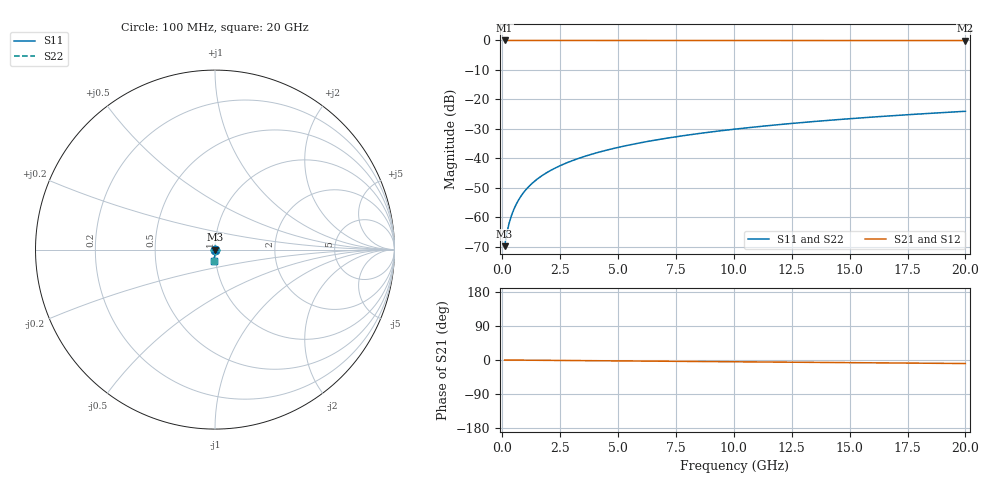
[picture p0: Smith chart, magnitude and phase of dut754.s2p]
! Touchstone file exported from HFSS 2026.1.0
!  File:  C:/ffzhzh/LocalFiles/Ansys_Project_Files/temp_train_TSV_754_1783183094_18472.aedt
!  Generated:  12:39:38 AM Jul  5, 2026
!  Design:  TSV
!  Project:  temp_train_TSV_754_1783183094_18472
! Variables:
!  h_bsmrdl = 2um
!  h_ox = 20um
!  h_rdl = 5um
!  h_sub = 93.27um
!  h_tmrdl = 5um
!  h_tsv = 93.27um
!  h_via = 3um
!  l_bsmrdl = 300um
!  l_sub = 416.66um
!  l_tmrdl = 200um
!  m_sub = 200um
!  pitch = 23.84um
!  r_tsv = 8.33um
!  s_tmrdl = 10um
!  w_bsmrdl = 18um
!  w_sub = 500um
!  w_tmrdl = 12um
!  x_tsv_center1 = 206um
!  x_tsv_center2 = 524um
!  x_tsv_center3 = 736um
!  x_tsv_center4 = 1054um
!  x_tsv_center5 = 1266um
!  x_tsv_center6 = 1584um
# GHz S MA R 50.000000
! Terminal data exported
! Port[1] = TSV1_1_T1
! Port[2] = TSV1_1_T2
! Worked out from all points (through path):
!   200 points, 100 MHz to 20 GHz, reference 50 ohm
!   highest |S21| = 0.00 dB at 100 MHz (marker M1); lowest = 0.0 dB at 20 GHz (marker M2)
!   group delay of S21, straight-line fit = 1.29 ps
!   lowest |S11| = -69.9 dB at 100 MHz (marker M3), VSWR 1.00, Z = 50 - j0.0246 ohm
!   |S11| at or under -10 dB: start of sweep to end of sweep
!   |S22| runs from -69.9 to -24.1 dB; largest |S21 - S12| = 4.9e-15
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0.1  0.0003217 -49.8  0.9998 -0.1  0.9998 -0.1  0.0003217 -49.8
! Gamma 0 0 0 0
! Port Impedance 50 0 50 0
0.2  0.0005479 -65.3  0.9998 -0.1  0.9998 -0.1  0.0005479 -65.3
0.3  0.0008032 -71.1  0.9997 -0.2  0.9997 -0.2  0.0008032 -71.1
0.4  0.001075 -74.0  0.9997 -0.2  0.9997 -0.2  0.001075 -74.0
0.5  0.001359 -75.8  0.9997 -0.2  0.9997 -0.2  0.001359 -75.8
0.7  0.00195 -78.3  0.9996 -0.3  0.9996 -0.3  0.00195 -78.3
0.8  0.002252 -79.2  0.9996 -0.4  0.9996 -0.4  0.002252 -79.2
1  0.002863 -80.7  0.9995 -0.5  0.9995 -0.5  0.002863 -80.7
1.2  0.003478 -81.8  0.9995 -0.6  0.9995 -0.6  0.003478 -81.8
1.4  0.004094 -82.8  0.9994 -0.7  0.9994 -0.7  0.004094 -82.8
1.7  0.005019 -83.9  0.9994 -0.8  0.9994 -0.8  0.005019 -83.9
2  0.005944 -84.7  0.9993 -1.0  0.9993 -1.0  0.005944 -84.7
2.7  0.008106 -86.1  0.9992 -1.3  0.9992 -1.3  0.008106 -86.1
3.5  0.01059 -87.2  0.9991 -1.7  0.9991 -1.7  0.01059 -87.2
4.2  0.01277 -87.9  0.999 -2.0  0.999 -2.0  0.01277 -87.9
5  0.01528 -88.6  0.9989 -2.4  0.9989 -2.4  0.01528 -88.6
6.8  0.02095 -90.0  0.9986 -3.2  0.9986 -3.2  0.02095 -90.0
8.3  0.02569 -91.0  0.9984 -3.9  0.9984 -3.9  0.02569 -91.0
10.1  0.0314 -92.1  0.9981 -4.7  0.9981 -4.7  0.0314 -92.1
13.4  0.04185 -94.0  0.9975 -6.2  0.9975 -6.2  0.04185 -94.0
16.7  0.05229 -95.7  0.9968 -7.8  0.9968 -7.8  0.05229 -95.7
20  0.06271 -97.4  0.996 -9.3  0.996 -9.3  0.06271 -97.4
